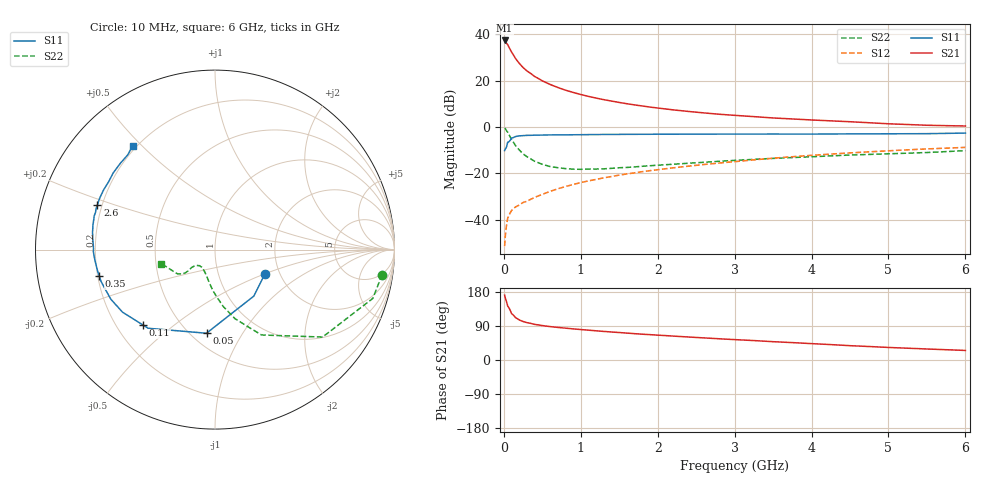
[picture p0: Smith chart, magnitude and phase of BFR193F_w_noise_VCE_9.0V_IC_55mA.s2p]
! Infineon Technologies  Discrete & RF Semiconductors
! BFR193F
! VCE =  9.0 V,  IC =  55 mA
! Common Emitter S-Parameters:  Jan 2017
# GHz  S  MA  R  50
!  f  S11  S21  S12  S22
! GHz  MAG  ANG  MAG  ANG  MAG  ANG  MAG  ANG
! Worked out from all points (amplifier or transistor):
!   77 points, 10 MHz to 6 GHz, reference 50 ohm
!   highest |S21| = 37.3 dB at 10 MHz (marker M1)
!   |S21| within 3 dB of that: start of sweep to 68.75 MHz
!   unconditionally stable (mu >= 1): 854.9 MHz to 2.538 GHz
!   at 130 MHz: K = 0.46, MSG = 32.9 dB, |S12| = -35.1 dB
!   at 2.2 GHz: K = 1.02, MAG = 11.7 dB, |S12| = -17.6 dB
!   at 6 GHz: K = 0.84, MSG = 4.6 dB, |S12| = -8.8 dB
!   lowest NFmin = 1.56 dB at 450 MHz
!   S11 on the Smith chart (normalised r, x): 10 MHz: 1.68, -0.50; 50 MHz: 0.59, -0.71; 110 MHz: 0.31, -0.39; 350 MHz: 0.21, -0.11; 2.6 GHz: 0.18, +0.18; 6 GHz: 0.18, +0.47
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0.01  0.3093 -25.6  73.17 171.2  0.0027 87.1  0.9418 -8.5
0.02  0.3375 -50.1  70.29 162.8  0.0046 71.9  0.9202 -17.2
0.05  0.4684 -95.8  59.25 142.7  0.0108 62.8  0.7725 -39.1
0.1  0.5749 -130.3  41.2 122.5  0.0158 53.4  0.541 -61.5
0.11  0.5807 -133.6  38.92 120.9  0.0164 52.8  0.5115 -63.4
0.15  0.6221 -145.9  30.21 112.2  0.0188 50.6  0.4012 -73.8
0.2  0.6427 -154.5  23.53 105.8  0.0208 54.0  0.3206 -81.7
0.25  0.6509 -160.6  19.14 101.6  0.0236 54.6  0.263 -88.0
0.3  0.6592 -164.4  16.15 98.6  0.0251 57.9  0.2289 -92.9
0.35  0.6614 -167.2  14.19 96.6  0.0277 59.5  0.2051 -96.4
0.4  0.6651 -169.9  12.26 94.0  0.0303 60.8  0.1822 -100.8
0.5  0.6696 -173.7  9.868 90.9  0.0353 64.2  0.1569 -106.9
0.6  0.674 -176.4  8.267 88.2  0.0409 66.7  0.1407 -112.8
0.8  0.6769 179.5  6.223 84.1  0.052 69.4  0.1268 -122.0
1.1  0.6846 174.6  4.56 78.7  0.0688 72.6  0.1239 -130.6
1.5  0.6919 169.7  3.377 72.5  0.0918 73.8  0.1322 -137.9
2.1  0.698 163.6  2.448 64.4  0.1257 73.6  0.1537 -142.0
2.6  0.7002 159.4  2.01 58.3  0.1551 73.0  0.1733 -142.1
3.1  0.7034 155.2  1.736 52.8  0.1854 72.1  0.1944 -141.7
4.1  0.704 146.6  1.391 42.2  0.2509 68.3  0.232 -144.2
5.1  0.7139 136.8  1.154 32.3  0.3126 63.0  0.2675 -154.6
6  0.7385 128.3  1.049 25.2  0.3631 57.8  0.3088 -165.4
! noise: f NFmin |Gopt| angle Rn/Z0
0.45  1.56  0.48  -179  0.07
0.9  1.64  0.49  -177  0.08
1.9  2.22  0.6  -163  0.1
2.4  2.54  0.62  -155  0.16
